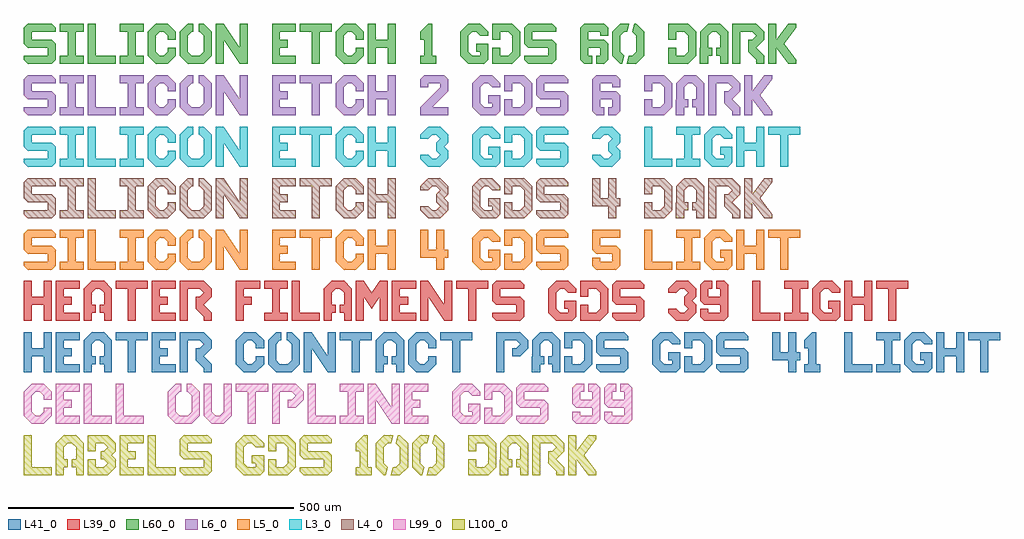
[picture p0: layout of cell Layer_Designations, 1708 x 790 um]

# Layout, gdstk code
import gdstk
lib = gdstk.Library(unit=1e-6, precision=1e-09)
def P(c, l, *ps):  # polygons
    for p in ps: c.add(gdstk.Polygon(p, *l))
L3_0 = (3, 0)
L4_0 = (4, 0)
L5_0 = (5, 0)
L6_0 = (6, 0)
L39_0 = (39, 0)
L41_0 = (41, 0)
L60_0 = (60, 0)
L99_0 = (99, 0)
L100_0 = (100, 0)

layer_designations = lib.new_cell('Layer_Designations')
P(layer_designations, L3_0, [(7,540),(0,547),(0,554),(42,554),(42,568),(7,568),(0,575),(0,603),(7,610),(49,610),(56,603),(56,596),(14,596),(14,582),(49,582),(56,575),(56,547),(49,540)],
  [(63,540),(63,554),(77,554),(77,596),(63,596),(63,610),(105,610),(105,596),(91,596),(91,554),(105,554),(105,540)],
  [(112,540),(112,610),(126,610),(126,554),(161,554),(161,540)],
  [(168,540),(168,554),(182,554),(182,596),(168,596),(168,610),(210,610),(210,596),(196,596),(196,554),(210,554),(210,540)],
  [(231,540),(217,554),(217,596),(231,610),(252,610),(266,596),(266,582),(252,582),(252,589),(245,596),(238,596),(231,589),(231,561),(238,554),(245,554),(252,561),(252,568),(266,568),(266,554),(252,540)],
  [(287,540),(273,554),(273,596),(287,610),(296.1,610),(296.1,596),(294,596),(287,589),(287,561),(294,554),(308,554),(315,561),(315,589),(308,596),(305.9,596),(305.9,610),(315,610),(329,596),(329,554),(315,540)],
  [(336,540),(336,610),(350,610),(378,568),(378,610),(392,610),(392,540),(378,540),(350,582),(350,540)],
  [(434,540),(434,610),(476,610),(476,596),(448,596),(448,582),(462,582),(462,568),(448,568),(448,554),(476,554),(476,540)],
  [(504,540),(504,596),(483,596),(483,610),(539,610),(539,596),(518,596),(518,540)],
  [(560,540),(546,554),(546,596),(560,610),(581,610),(595,596),(595,582),(581,582),(581,589),(574,596),(567,596),(560,589),(560,561),(567,554),(574,554),(581,561),(581,568),(595,568),(595,554),(581,540)],
  [(602,540),(602,610),(616,610),(616,582),(637,582),(637,610),(651,610),(651,540),(637,540),(637,568),(616,568),(616,540)],
  [(707,540),(693,554),(693,561),(707,561),(714,554),(721,554),(728,561),(721,568),(721,582),(728,589),(721,596),(714,596),(707,589),(693,589),(693,596),(707,610),(728,610),(742,596),(742,582),(735,575),(742,568),(742,554),(728,540)],
  [(798,540),(784,554),(784,596),(798,610),(819,610),(833,596),(833,589),(819,589),(812,596),(805,596),(798,589),(798,561),(805,554),(819,554),(819,561),(812,561),(812,575),(833,575),(833,547),(826,540)],
  [(840,540),(840,568),(854,568),(854,554),(868,554),(875,561),(875,589),(868,596),(854,596),(854,582),(840,582),(840,610),(875,610),(889,596),(889,554),(875,540)],
  [(903,540),(896,547),(896,554),(938,554),(938,568),(903,568),(896,575),(896,603),(903,610),(945,610),(952,603),(952,596),(910,596),(910,582),(945,582),(952,575),(952,547),(945,540)],
  [(1008,540),(994,554),(994,561),(1008,561),(1015,554),(1022,554),(1029,561),(1022,568),(1022,582),(1029,589),(1022,596),(1015,596),(1008,589),(994,589),(994,596),(1008,610),(1029,610),(1043,596),(1043,582),(1036,575),(1043,568),(1043,554),(1029,540)],
  [(1085,540),(1085,610),(1099,610),(1099,554),(1134,554),(1134,540)],
  [(1141,540),(1141,554),(1155,554),(1155,596),(1141,596),(1141,610),(1183,610),(1183,596),(1169,596),(1169,554),(1183,554),(1183,540)],
  [(1204,540),(1190,554),(1190,596),(1204,610),(1225,610),(1239,596),(1239,589),(1225,589),(1218,596),(1211,596),(1204,589),(1204,561),(1211,554),(1225,554),(1225,561),(1218,561),(1218,575),(1239,575),(1239,547),(1232,540)],
  [(1246,540),(1246,610),(1260,610),(1260,582),(1281,582),(1281,610),(1295,610),(1295,540),(1281,540),(1281,568),(1260,568),(1260,540)],
  [(1323,540),(1323,596),(1302,596),(1302,610),(1358,610),(1358,596),(1337,596),(1337,540)])
P(layer_designations, L4_0, [(7,450),(0,457),(0,464),(42,464),(42,478),(7,478),(0,485),(0,513),(7,520),(49,520),(56,513),(56,506),(14,506),(14,492),(49,492),(56,485),(56,457),(49,450)],
  [(63,450),(63,464),(77,464),(77,506),(63,506),(63,520),(105,520),(105,506),(91,506),(91,464),(105,464),(105,450)],
  [(112,450),(112,520),(126,520),(126,464),(161,464),(161,450)],
  [(168,450),(168,464),(182,464),(182,506),(168,506),(168,520),(210,520),(210,506),(196,506),(196,464),(210,464),(210,450)],
  [(231,450),(217,464),(217,506),(231,520),(252,520),(266,506),(266,492),(252,492),(252,499),(245,506),(238,506),(231,499),(231,471),(238,464),(245,464),(252,471),(252,478),(266,478),(266,464),(252,450)],
  [(287,450),(273,464),(273,506),(287,520),(296.1,520),(296.1,506),(294,506),(287,499),(287,471),(294,464),(308,464),(315,471),(315,499),(308,506),(305.9,506),(305.9,520),(315,520),(329,506),(329,464),(315,450)],
  [(336,450),(336,520),(350,520),(378,478),(378,520),(392,520),(392,450),(378,450),(350,492),(350,450)],
  [(434,450),(434,520),(476,520),(476,506),(448,506),(448,492),(462,492),(462,478),(448,478),(448,464),(476,464),(476,450)],
  [(504,450),(504,506),(483,506),(483,520),(539,520),(539,506),(518,506),(518,450)],
  [(560,450),(546,464),(546,506),(560,520),(581,520),(595,506),(595,492),(581,492),(581,499),(574,506),(567,506),(560,499),(560,471),(567,464),(574,464),(581,471),(581,478),(595,478),(595,464),(581,450)],
  [(602,450),(602,520),(616,520),(616,492),(637,492),(637,520),(651,520),(651,450),(637,450),(637,478),(616,478),(616,450)],
  [(707,450),(693,464),(693,471),(707,471),(714,464),(721,464),(728,471),(721,478),(721,492),(728,499),(721,506),(714,506),(707,499),(693,499),(693,506),(707,520),(728,520),(742,506),(742,492),(735,485),(742,478),(742,464),(728,450)],
  [(798,450),(784,464),(784,506),(798,520),(819,520),(833,506),(833,499),(819,499),(812,506),(805,506),(798,499),(798,471),(805,464),(819,464),(819,471),(812,471),(812,485),(833,485),(833,457),(826,450)],
  [(840,450),(840,478),(854,478),(854,464),(868,464),(875,471),(875,499),(868,506),(854,506),(854,492),(840,492),(840,520),(875,520),(889,506),(889,464),(875,450)],
  [(903,450),(896,457),(896,464),(938,464),(938,478),(903,478),(896,485),(896,513),(903,520),(945,520),(952,513),(952,506),(910,506),(910,492),(945,492),(952,485),(952,457),(945,450)],
  [(1022,450),(1022,471),(994,471),(994,520),(1008,520),(1008,485),(1022,485),(1022,520),(1036,520),(1036,485),(1043,485),(1043,471),(1036,471),(1036,450)],
  [(1085,450),(1085,478),(1099,478),(1099,464),(1113,464),(1120,471),(1120,499),(1113,506),(1099,506),(1099,492),(1085,492),(1085,520),(1120,520),(1134,506),(1134,464),(1120,450)],
  [(1140.93,450),(1141,506),(1155,520),(1176.07,520),(1190,506),(1190,450),(1176.07,450),(1176.07,464),(1169,464),(1169,478),(1176.07,478),(1176.07,499),(1169,506),(1162,506),(1155,499),(1155,478),(1162,478),(1162,464),(1155,464),(1155,450)],
  [(1197,450),(1197,520),(1239,520),(1253,506),(1253,492),(1239,478),(1253,464),(1253,450),(1239,450),(1239,457),(1225,471),(1225,492),(1232,492),(1239,499),(1232,506),(1211,506),(1211,450)],
  [(1260,450),(1260,520),(1274,520),(1274,492),(1295,520),(1309,520),(1309,513),(1288,485),(1309,457),(1309,450),(1295,450),(1274,478),(1274,450)])
P(layer_designations, L5_0, [(7,360),(0,367),(0,374),(42,374),(42,388),(7,388),(0,395),(0,423),(7,430),(49,430),(56,423),(56,416),(14,416),(14,402),(49,402),(56,395),(56,367),(49,360)],
  [(63,360),(63,374),(77,374),(77,416),(63,416),(63,430),(105,430),(105,416),(91,416),(91,374),(105,374),(105,360)],
  [(112,360),(112,430),(126,430),(126,374),(161,374),(161,360)],
  [(168,360),(168,374),(182,374),(182,416),(168,416),(168,430),(210,430),(210,416),(196,416),(196,374),(210,374),(210,360)],
  [(231,360),(217,374),(217,416),(231,430),(252,430),(266,416),(266,402),(252,402),(252,409),(245,416),(238,416),(231,409),(231,381),(238,374),(245,374),(252,381),(252,388),(266,388),(266,374),(252,360)],
  [(287,360),(273,374),(273,416),(287,430),(296.1,430),(296.1,416),(294,416),(287,409),(287,381),(294,374),(308,374),(315,381),(315,409),(308,416),(305.9,416),(305.9,430),(315,430),(329,416),(329,374),(315,360)],
  [(336,360),(336,430),(350,430),(378,388),(378,430),(392,430),(392,360),(378,360),(350,402),(350,360)],
  [(434,360),(434,430),(476,430),(476,416),(448,416),(448,402),(462,402),(462,388),(448,388),(448,374),(476,374),(476,360)],
  [(504,360),(504,416),(483,416),(483,430),(539,430),(539,416),(518,416),(518,360)],
  [(560,360),(546,374),(546,416),(560,430),(581,430),(595,416),(595,402),(581,402),(581,409),(574,416),(567,416),(560,409),(560,381),(567,374),(574,374),(581,381),(581,388),(595,388),(595,374),(581,360)],
  [(602,360),(602,430),(616,430),(616,402),(637,402),(637,430),(651,430),(651,360),(637,360),(637,388),(616,388),(616,360)],
  [(721,360),(721,381),(693,381),(693,430),(707,430),(707,395),(721,395),(721,430),(735,430),(735,395),(742,395),(742,381),(735,381),(735,360)],
  [(798,360),(784,374),(784,416),(798,430),(819,430),(833,416),(833,409),(819,409),(812,416),(805,416),(798,409),(798,381),(805,374),(819,374),(819,381),(812,381),(812,395),(833,395),(833,367),(826,360)],
  [(840,360),(840,388),(854,388),(854,374),(868,374),(875,381),(875,409),(868,416),(854,416),(854,402),(840,402),(840,430),(875,430),(889,416),(889,374),(875,360)],
  [(903,360),(896,367),(896,374),(938,374),(938,388),(903,388),(896,395),(896,423),(903,430),(945,430),(952,423),(952,416),(910,416),(910,402),(945,402),(952,395),(952,367),(945,360)],
  [(1001,360),(994,367),(994,381),(1008,381),(1008,374),(1029,374),(1029,388),(1001,388),(994,395),(994,430),(1043,430),(1043,416),(1008,416),(1008,402),(1036,402),(1043,395),(1043,367),(1036,360)],
  [(1085,360),(1085,430),(1099,430),(1099,374),(1134,374),(1134,360)],
  [(1141,360),(1141,374),(1155,374),(1155,416),(1141,416),(1141,430),(1183,430),(1183,416),(1169,416),(1169,374),(1183,374),(1183,360)],
  [(1204,360),(1190,374),(1190,416),(1204,430),(1225,430),(1239,416),(1239,409),(1225,409),(1218,416),(1211,416),(1204,409),(1204,381),(1211,374),(1225,374),(1225,381),(1218,381),(1218,395),(1239,395),(1239,367),(1232,360)],
  [(1246,360),(1246,430),(1260,430),(1260,402),(1281,402),(1281,430),(1295,430),(1295,360),(1281,360),(1281,388),(1260,388),(1260,360)],
  [(1323,360),(1323,416),(1302,416),(1302,430),(1358,430),(1358,416),(1337,416),(1337,360)])
P(layer_designations, L6_0, [(7,630),(0,637),(0,644),(42,644),(42,658),(7,658),(0,665),(0,693),(7,700),(49,700),(56,693),(56,686),(14,686),(14,672),(49,672),(56,665),(56,637),(49,630)],
  [(63,630),(63,644),(77,644),(77,686),(63,686),(63,700),(105,700),(105,686),(91,686),(91,644),(105,644),(105,630)],
  [(112,630),(112,700),(126,700),(126,644),(161,644),(161,630)],
  [(168,630),(168,644),(182,644),(182,686),(168,686),(168,700),(210,700),(210,686),(196,686),(196,644),(210,644),(210,630)],
  [(231,630),(217,644),(217,686),(231,700),(252,700),(266,686),(266,672),(252,672),(252,679),(245,686),(238,686),(231,679),(231,651),(238,644),(245,644),(252,651),(252,658),(266,658),(266,644),(252,630)],
  [(287,630),(273,644),(273,686),(287,700),(296.1,700),(296.1,686),(294,686),(287,679),(287,651),(294,644),(308,644),(315,651),(315,679),(308,686),(305.9,686),(305.9,700),(315,700),(329,686),(329,644),(315,630)],
  [(336,630),(336,700),(350,700),(378,658),(378,700),(392,700),(392,630),(378,630),(350,672),(350,630)],
  [(434,630),(434,700),(476,700),(476,686),(448,686),(448,672),(462,672),(462,658),(448,658),(448,644),(476,644),(476,630)],
  [(504,630),(504,686),(483,686),(483,700),(539,700),(539,686),(518,686),(518,630)],
  [(560,630),(546,644),(546,686),(560,700),(581,700),(595,686),(595,672),(581,672),(581,679),(574,686),(567,686),(560,679),(560,651),(567,644),(574,644),(581,651),(581,658),(595,658),(595,644),(581,630)],
  [(602,630),(602,700),(616,700),(616,672),(637,672),(637,700),(651,700),(651,630),(637,630),(637,658),(616,658),(616,630)],
  [(693,630),(693,644),(728,679),(728,686),(707,686),(707,679),(693,679),(693,693),(700,700),(735,700),(742,693),(742,672),(714,644),(742,644),(742,630)],
  [(798,630),(784,644),(784,686),(798,700),(819,700),(833,686),(833,679),(819,679),(812,686),(805,686),(798,679),(798,651),(805,644),(819,644),(819,651),(812,651),(812,665),(833,665),(833,637),(826,630)],
  [(840,630),(840,658),(854,658),(854,644),(868,644),(875,651),(875,679),(868,686),(854,686),(854,672),(840,672),(840,700),(875,700),(889,686),(889,644),(875,630)],
  [(903,630),(896,637),(896,644),(938,644),(938,658),(903,658),(896,665),(896,693),(903,700),(945,700),(952,693),(952,686),(910,686),(910,672),(945,672),(952,665),(952,637),(945,630)],
  [(1001,630),(994,637),(994,693),(1001,700),(1036,700),(1043,693),(1043,679),(1029,679),(1029,686),(1008,686),(1008,672),(1036,672),(1043,665),(1043,637),(1036,630),(1022,630),(1022,644),(1029,644),(1029,658),(1008,658),(1008,644),(1015,644),(1015,630)],
  [(1085,630),(1085,658),(1099,658),(1099,644),(1113,644),(1120,651),(1120,679),(1113,686),(1099,686),(1099,672),(1085,672),(1085,700),(1120,700),(1134,686),(1134,644),(1120,630)],
  [(1140.93,630),(1141,686),(1155,700),(1176.07,700),(1190,686),(1190,630),(1176.07,630),(1176.07,644),(1169,644),(1169,658),(1176.07,658),(1176.07,679),(1169,686),(1162,686),(1155,679),(1155,658),(1162,658),(1162,644),(1155,644),(1155,630)],
  [(1197,630),(1197,700),(1239,700),(1253,686),(1253,672),(1239,658),(1253,644),(1253,630),(1239,630),(1239,637),(1225,651),(1225,672),(1232,672),(1239,679),(1232,686),(1211,686),(1211,630)],
  [(1260,630),(1260,700),(1274,700),(1274,672),(1295,700),(1309,700),(1309,693),(1288,665),(1309,637),(1309,630),(1295,630),(1274,658),(1274,630)])
P(layer_designations, L39_0, [(0,270),(0,340),(14,340),(14,312),(35,312),(35,340),(49,340),(49,270),(35,270),(35,298),(14,298),(14,270)],
  [(56,270),(56,340),(98,340),(98,326),(70,326),(70,312),(84,312),(84,298),(70,298),(70,284),(98,284),(98,270)],
  [(104.93,270),(105,326),(119,340),(140.07,340),(154,326),(154,270),(140.07,270),(140.07,284),(133,284),(133,298),(140.07,298),(140.07,319),(133,326),(126,326),(119,319),(119,298),(126,298),(126,284),(119,284),(119,270)],
  [(182,270),(182,326),(161,326),(161,340),(217,340),(217,326),(196,326),(196,270)],
  [(224,270),(224,340),(266,340),(266,326),(238,326),(238,312),(252,312),(252,298),(238,298),(238,284),(266,284),(266,270)],
  [(273,270),(273,340),(315,340),(329,326),(329,312),(315,298),(329,284),(329,270),(315,270),(315,277),(301,291),(301,312),(308,312),(315,319),(308,326),(287,326),(287,270)],
  [(371,270),(371,340),(413,340),(413,326),(385,326),(385,312),(399,312),(399,298),(385,298),(385,270)],
  [(420,270),(420,284),(434,284),(434,326),(420,326),(420,340),(462,340),(462,326),(448,326),(448,284),(462,284),(462,270)],
  [(469,270),(469,340),(483,340),(483,284),(518,284),(518,270)],
  [(524.93,270),(525,326),(539,340),(560.07,340),(574,326),(574,270),(560.07,270),(560.07,284),(553,284),(553,298),(560.07,298),(560.07,319),(553,326),(546,326),(539,319),(539,298),(546,298),(546,284),(539,284),(539,270)],
  [(581,270),(581,340),(595,340),(609,319),(623,340),(637,340),(637,270),(623,270),(623,312),(609,291),(595,312),(595,270)],
  [(644,270),(644,340),(686,340),(686,326),(658,326),(658,312),(672,312),(672,298),(658,298),(658,284),(686,284),(686,270)],
  [(693,270),(693,340),(707,340),(735,298),(735,340),(749,340),(749,270),(735,270),(707,312),(707,270)],
  [(777,270),(777,326),(756,326),(756,340),(812,340),(812,326),(791,326),(791,270)],
  [(826,270),(819,277),(819,284),(861,284),(861,298),(826,298),(819,305),(819,333),(826,340),(868,340),(875,333),(875,326),(833,326),(833,312),(868,312),(875,305),(875,277),(868,270)],
  [(931,270),(917,284),(917,326),(931,340),(952,340),(966,326),(966,319),(952,319),(945,326),(938,326),(931,319),(931,291),(938,284),(952,284),(952,291),(945,291),(945,305),(966,305),(966,277),(959,270)],
  [(973,270),(973,298),(987,298),(987,284),(1001,284),(1008,291),(1008,319),(1001,326),(987,326),(987,312),(973,312),(973,340),(1008,340),(1022,326),(1022,284),(1008,270)],
  [(1036,270),(1029,277),(1029,284),(1071,284),(1071,298),(1036,298),(1029,305),(1029,333),(1036,340),(1078,340),(1085,333),(1085,326),(1043,326),(1043,312),(1078,312),(1085,305),(1085,277),(1078,270)],
  [(1141,270),(1127,284),(1127,291),(1141,291),(1148,284),(1155,284),(1162,291),(1155,298),(1155,312),(1162,319),(1155,326),(1148,326),(1141,319),(1127,319),(1127,326),(1141,340),(1162,340),(1176,326),(1176,312),(1169,305),(1176,298),(1176,284),(1162,270)],
  [(1190,270),(1183,277),(1183,291),(1197,291),(1197,284),(1218,284),(1218,298),(1190,298),(1183,305),(1183,333),(1190,340),(1204,340),(1204,326),(1197,326),(1197,312),(1218,312),(1218,326),(1211,326),(1211,340),(1225,340),(1232,333),(1232,277),(1225,270)],
  [(1274,270),(1274,340),(1288,340),(1288,284),(1323,284),(1323,270)],
  [(1330,270),(1330,284),(1344,284),(1344,326),(1330,326),(1330,340),(1372,340),(1372,326),(1358,326),(1358,284),(1372,284),(1372,270)],
  [(1393,270),(1379,284),(1379,326),(1393,340),(1414,340),(1428,326),(1428,319),(1414,319),(1407,326),(1400,326),(1393,319),(1393,291),(1400,284),(1414,284),(1414,291),(1407,291),(1407,305),(1428,305),(1428,277),(1421,270)],
  [(1435,270),(1435,340),(1449,340),(1449,312),(1470,312),(1470,340),(1484,340),(1484,270),(1470,270),(1470,298),(1449,298),(1449,270)],
  [(1512,270),(1512,326),(1491,326),(1491,340),(1547,340),(1547,326),(1526,326),(1526,270)])
P(layer_designations, L41_0, [(0,180),(0,250),(14,250),(14,222),(35,222),(35,250),(49,250),(49,180),(35,180),(35,208),(14,208),(14,180)],
  [(56,180),(56,250),(98,250),(98,236),(70,236),(70,222),(84,222),(84,208),(70,208),(70,194),(98,194),(98,180)],
  [(104.93,180),(105,236),(119,250),(140.07,250),(154,236),(154,180),(140.07,180),(140.07,194),(133,194),(133,208),(140.07,208),(140.07,229),(133,236),(126,236),(119,229),(119,208),(126,208),(126,194),(119,194),(119,180)],
  [(182,180),(182,236),(161,236),(161,250),(217,250),(217,236),(196,236),(196,180)],
  [(224,180),(224,250),(266,250),(266,236),(238,236),(238,222),(252,222),(252,208),(238,208),(238,194),(266,194),(266,180)],
  [(273,180),(273,250),(315,250),(329,236),(329,222),(315,208),(329,194),(329,180),(315,180),(315,187),(301,201),(301,222),(308,222),(315,229),(308,236),(287,236),(287,180)],
  [(385,180),(371,194),(371,236),(385,250),(406,250),(420,236),(420,222),(406,222),(406,229),(399,236),(392,236),(385,229),(385,201),(392,194),(399,194),(406,201),(406,208),(420,208),(420,194),(406,180)],
  [(441,180),(427,194),(427,236),(441,250),(450.1,250),(450.1,236),(448,236),(441,229),(441,201),(448,194),(462,194),(469,201),(469,229),(462,236),(459.9,236),(459.9,250),(469,250),(483,236),(483,194),(469,180)],
  [(490,180),(490,250),(504,250),(532,208),(532,250),(546,250),(546,180),(532,180),(504,222),(504,180)],
  [(574,180),(574,236),(553,236),(553,250),(609,250),(609,236),(588,236),(588,180)],
  [(615.93,180),(616,236),(630,250),(651.07,250),(665,236),(665,180),(651.07,180),(651.07,194),(644,194),(644,208),(651.07,208),(651.07,229),(644,236),(637,236),(630,229),(630,208),(637,208),(637,194),(630,194),(630,180)],
  [(686,180),(672,194),(672,236),(686,250),(707,250),(721,236),(721,222),(707,222),(707,229),(700,236),(693,236),(686,229),(686,201),(693,194),(700,194),(707,201),(707,208),(721,208),(721,194),(707,180)],
  [(749,180),(749,236),(728,236),(728,250),(784,250),(784,236),(763,236),(763,180)],
  [(826,180),(826,250),(868,250),(882,236),(882,222),(868,208),(854,208),(854,222),(861,222),(868,229),(861,236),(840,236),(840,180)],
  [(888.93,180),(889,236),(903,250),(924.07,250),(938,236),(938,180),(924.07,180),(924.07,194),(917,194),(917,208),(924.07,208),(924.07,229),(917,236),(910,236),(903,229),(903,208),(910,208),(910,194),(903,194),(903,180)],
  [(945,180),(945,208),(959,208),(959,194),(973,194),(980,201),(980,229),(973,236),(959,236),(959,222),(945,222),(945,250),(980,250),(994,236),(994,194),(980,180)],
  [(1008,180),(1001,187),(1001,194),(1043,194),(1043,208),(1008,208),(1001,215),(1001,243),(1008,250),(1050,250),(1057,243),(1057,236),(1015,236),(1015,222),(1050,222),(1057,215),(1057,187),(1050,180)],
  [(1113,180),(1099,194),(1099,236),(1113,250),(1134,250),(1148,236),(1148,229),(1134,229),(1127,236),(1120,236),(1113,229),(1113,201),(1120,194),(1134,194),(1134,201),(1127,201),(1127,215),(1148,215),(1148,187),(1141,180)],
  [(1155,180),(1155,208),(1169,208),(1169,194),(1183,194),(1190,201),(1190,229),(1183,236),(1169,236),(1169,222),(1155,222),(1155,250),(1190,250),(1204,236),(1204,194),(1190,180)],
  [(1218,180),(1211,187),(1211,194),(1253,194),(1253,208),(1218,208),(1211,215),(1211,243),(1218,250),(1260,250),(1267,243),(1267,236),(1225,236),(1225,222),(1260,222),(1267,215),(1267,187),(1260,180)],
  [(1337,180),(1337,201),(1309,201),(1309,250),(1323,250),(1323,215),(1337,215),(1337,250),(1351,250),(1351,215),(1358,215),(1358,201),(1351,201),(1351,180)],
  [(1365,180),(1365,194),(1372,194),(1372,222),(1365,222),(1365,236),(1379,250),(1386,250),(1386,194),(1393,194),(1393,180)],
  [(1435,180),(1435,250),(1449,250),(1449,194),(1484,194),(1484,180)],
  [(1491,180),(1491,194),(1505,194),(1505,236),(1491,236),(1491,250),(1533,250),(1533,236),(1519,236),(1519,194),(1533,194),(1533,180)],
  [(1554,180),(1540,194),(1540,236),(1554,250),(1575,250),(1589,236),(1589,229),(1575,229),(1568,236),(1561,236),(1554,229),(1554,201),(1561,194),(1575,194),(1575,201),(1568,201),(1568,215),(1589,215),(1589,187),(1582,180)],
  [(1596,180),(1596,250),(1610,250),(1610,222),(1631,222),(1631,250),(1645,250),(1645,180),(1631,180),(1631,208),(1610,208),(1610,180)],
  [(1673,180),(1673,236),(1652,236),(1652,250),(1708,250),(1708,236),(1687,236),(1687,180)])
P(layer_designations, L60_0, [(7,720),(0,727),(0,734),(42,734),(42,748),(7,748),(0,755),(0,783),(7,790),(49,790),(56,783),(56,776),(14,776),(14,762),(49,762),(56,755),(56,727),(49,720)],
  [(63,720),(63,734),(77,734),(77,776),(63,776),(63,790),(105,790),(105,776),(91,776),(91,734),(105,734),(105,720)],
  [(112,720),(112,790),(126,790),(126,734),(161,734),(161,720)],
  [(168,720),(168,734),(182,734),(182,776),(168,776),(168,790),(210,790),(210,776),(196,776),(196,734),(210,734),(210,720)],
  [(231,720),(217,734),(217,776),(231,790),(252,790),(266,776),(266,762),(252,762),(252,769),(245,776),(238,776),(231,769),(231,741),(238,734),(245,734),(252,741),(252,748),(266,748),(266,734),(252,720)],
  [(287,720),(273,734),(273,776),(287,790),(296.1,790),(296.1,776),(294,776),(287,769),(287,741),(294,734),(308,734),(315,741),(315,769),(308,776),(305.9,776),(305.9,790),(315,790),(329,776),(329,734),(315,720)],
  [(336,720),(336,790),(350,790),(378,748),(378,790),(392,790),(392,720),(378,720),(350,762),(350,720)],
  [(434,720),(434,790),(476,790),(476,776),(448,776),(448,762),(462,762),(462,748),(448,748),(448,734),(476,734),(476,720)],
  [(504,720),(504,776),(483,776),(483,790),(539,790),(539,776),(518,776),(518,720)],
  [(560,720),(546,734),(546,776),(560,790),(581,790),(595,776),(595,762),(581,762),(581,769),(574,776),(567,776),(560,769),(560,741),(567,734),(574,734),(581,741),(581,748),(595,748),(595,734),(581,720)],
  [(602,720),(602,790),(616,790),(616,762),(637,762),(637,790),(651,790),(651,720),(637,720),(637,748),(616,748),(616,720)],
  [(693,720),(693,734),(700,734),(700,762),(693,762),(693,776),(707,790),(714,790),(714,734),(721,734),(721,720)],
  [(777,720),(763,734),(763,776),(777,790),(798,790),(812,776),(812,769),(798,769),(791,776),(784,776),(777,769),(777,741),(784,734),(798,734),(798,741),(791,741),(791,755),(812,755),(812,727),(805,720)],
  [(819,720),(819,748),(833,748),(833,734),(847,734),(854,741),(854,769),(847,776),(833,776),(833,762),(819,762),(819,790),(854,790),(868,776),(868,734),(854,720)],
  [(882,720),(875,727),(875,734),(917,734),(917,748),(882,748),(875,755),(875,783),(882,790),(924,790),(931,783),(931,776),(889,776),(889,762),(924,762),(931,755),(931,727),(924,720)],
  [(980,720),(973,727),(973,783),(980,790),(1015,790),(1022,783),(1022,769),(1008,769),(1008,776),(987,776),(987,762),(1015,762),(1022,755),(1022,727),(1015,720),(1001,720),(1001,734),(1008,734),(1008,748),(987,748),(987,734),(994,734),(994,720)],
  [(1043,720),(1029,734),(1029,776),(1043,790),(1059.1,790),(1055.6,776),(1050,776),(1043,769),(1043,741),(1050,734),(1046.5,720)],
  [(1054.9,720),(1058.4,734),(1064,734),(1071,741),(1071,769),(1064,776),(1067.5,790),(1071,790),(1085,776),(1085,734),(1071,720)],
  [(1127,720),(1127,748),(1141,748),(1141,734),(1155,734),(1162,741),(1162,769),(1155,776),(1141,776),(1141,762),(1127,762),(1127,790),(1162,790),(1176,776),(1176,734),(1162,720)],
  [(1182.93,720),(1183,776),(1197,790),(1218.07,790),(1232,776),(1232,720),(1218.07,720),(1218.07,734),(1211,734),(1211,748),(1218.07,748),(1218.07,769),(1211,776),(1204,776),(1197,769),(1197,748),(1204,748),(1204,734),(1197,734),(1197,720)],
  [(1239,720),(1239,790),(1281,790),(1295,776),(1295,762),(1281,748),(1295,734),(1295,720),(1281,720),(1281,727),(1267,741),(1267,762),(1274,762),(1281,769),(1274,776),(1253,776),(1253,720)],
  [(1302,720),(1302,790),(1316,790),(1316,762),(1337,790),(1351,790),(1351,783),(1330,755),(1351,727),(1351,720),(1337,720),(1316,748),(1316,720)])
P(layer_designations, L99_0, [(14,90),(0,104),(0,146),(14,160),(35,160),(49,146),(49,132),(35,132),(35,139),(28,146),(21,146),(14,139),(14,111),(21,104),(28,104),(35,111),(35,118),(49,118),(49,104),(35,90)],
  [(56,90),(56,160),(98,160),(98,146),(70,146),(70,132),(84,132),(84,118),(70,118),(70,104),(98,104),(98,90)],
  [(105,90),(105,160),(119,160),(119,104),(154,104),(154,90)],
  [(161,90),(161,160),(175,160),(175,104),(210,104),(210,90)],
  [(266,90),(252,104),(252,146),(266,160),(275.1,160),(275.1,146),(273,146),(266,139),(266,111),(273,104),(287,104),(294,111),(294,139),(287,146),(284.9,146),(284.9,160),(294,160),(308,146),(308,104),(294,90)],
  [(329,90),(315,104),(315,160),(329,160),(329,111),(336,104),(343,104),(350,111),(350,160),(364,160),(364,104),(350,90)],
  [(392,90),(392,146),(371,146),(371,160),(427,160),(427,146),(406,146),(406,90)],
  [(434,90),(434,160),(476,160),(490,146),(490,132),(476,118),(462,118),(462,132),(469,132),(476,139),(469,146),(448,146),(448,90)],
  [(497,90),(497,160),(511,160),(511,104),(546,104),(546,90)],
  [(553,90),(553,104),(567,104),(567,146),(553,146),(553,160),(595,160),(595,146),(581,146),(581,104),(595,104),(595,90)],
  [(602,90),(602,160),(616,160),(644,118),(644,160),(658,160),(658,90),(644,90),(616,132),(616,90)],
  [(665,90),(665,160),(707,160),(707,146),(679,146),(679,132),(693,132),(693,118),(679,118),(679,104),(707,104),(707,90)],
  [(763,90),(749,104),(749,146),(763,160),(784,160),(798,146),(798,139),(784,139),(777,146),(770,146),(763,139),(763,111),(770,104),(784,104),(784,111),(777,111),(777,125),(798,125),(798,97),(791,90)],
  [(805,90),(805,118),(819,118),(819,104),(833,104),(840,111),(840,139),(833,146),(819,146),(819,132),(805,132),(805,160),(840,160),(854,146),(854,104),(840,90)],
  [(868,90),(861,97),(861,104),(903,104),(903,118),(868,118),(861,125),(861,153),(868,160),(910,160),(917,153),(917,146),(875,146),(875,132),(910,132),(917,125),(917,97),(910,90)],
  [(966,90),(959,97),(959,111),(973,111),(973,104),(994,104),(994,118),(966,118),(959,125),(959,153),(966,160),(980,160),(980,146),(973,146),(973,132),(994,132),(994,146),(987,146),(987,160),(1001,160),(1008,153),(1008,97),(1001,90)],
  [(1022,90),(1015,97),(1015,111),(1029,111),(1029,104),(1050,104),(1050,118),(1022,118),(1015,125),(1015,153),(1022,160),(1036,160),(1036,146),(1029,146),(1029,132),(1050,132),(1050,146),(1043,146),(1043,160),(1057,160),(1064,153),(1064,97),(1057,90)])
P(layer_designations, L100_0, [(0,0),(0,70),(14,70),(14,14),(49,14),(49,0)],
  [(55.93,0),(56,56),(70,70),(91.07,70),(105,56),(105,0),(91.07,0),(91.07,14),(84,14),(84,28),(91.07,28),(91.07,49),(84,56),(77,56),(70,49),(70,28),(77,28),(77,14),(70,14),(70,0)],
  [(112,0),(112,28),(126,28),(126,14),(140,14),(147,21),(140,28),(134.4,28),(134.4,42),(140,42),(147,49),(140,56),(126,56),(126,42),(112,42),(112,70),(147,70),(161,56),(161,42),(154,35),(161,28),(161,14),(147,0)],
  [(168,0),(168,70),(210,70),(210,56),(182,56),(182,42),(196,42),(196,28),(182,28),(182,14),(210,14),(210,0)],
  [(217,0),(217,70),(231,70),(231,14),(266,14),(266,0)],
  [(280,0),(273,7),(273,14),(315,14),(315,28),(280,28),(273,35),(273,63),(280,70),(322,70),(329,63),(329,56),(287,56),(287,42),(322,42),(329,35),(329,7),(322,0)],
  [(385,0),(371,14),(371,56),(385,70),(406,70),(420,56),(420,49),(406,49),(399,56),(392,56),(385,49),(385,21),(392,14),(406,14),(406,21),(399,21),(399,35),(420,35),(420,7),(413,0)],
  [(427,0),(427,28),(441,28),(441,14),(455,14),(462,21),(462,49),(455,56),(441,56),(441,42),(427,42),(427,70),(462,70),(476,56),(476,14),(462,0)],
  [(490,0),(483,7),(483,14),(525,14),(525,28),(490,28),(483,35),(483,63),(490,70),(532,70),(539,63),(539,56),(497,56),(497,42),(532,42),(539,35),(539,7),(532,0)],
  [(581,0),(581,14),(588,14),(588,42),(581,42),(581,56),(595,70),(602,70),(602,14),(609,14),(609,0)],
  [(630,0),(616,14),(616,56),(630,70),(646.1,70),(642.6,56),(637,56),(630,49),(630,21),(637,14),(633.5,0)],
  [(641.9,0),(645.4,14),(651,14),(658,21),(658,49),(651,56),(654.5,70),(658,70),(672,56),(672,14),(658,0)],
  [(693,0),(679,14),(679,56),(693,70),(709.1,70),(705.6,56),(700,56),(693,49),(693,21),(700,14),(696.5,0)],
  [(704.9,0),(708.4,14),(714,14),(721,21),(721,49),(714,56),(717.5,70),(721,70),(735,56),(735,14),(721,0)],
  [(777,0),(777,28),(791,28),(791,14),(805,14),(812,21),(812,49),(805,56),(791,56),(791,42),(777,42),(777,70),(812,70),(826,56),(826,14),(812,0)],
  [(832.93,0),(833,56),(847,70),(868.07,70),(882,56),(882,0),(868.07,0),(868.07,14),(861,14),(861,28),(868.07,28),(868.07,49),(861,56),(854,56),(847,49),(847,28),(854,28),(854,14),(847,14),(847,0)],
  [(889,0),(889,70),(931,70),(945,56),(945,42),(931,28),(945,14),(945,0),(931,0),(931,7),(917,21),(917,42),(924,42),(931,49),(924,56),(903,56),(903,0)],
  [(952,0),(952,70),(966,70),(966,42),(987,70),(1001,70),(1001,63),(980,35),(1001,7),(1001,0),(987,0),(966,28),(966,0)])

lib.write_gds('Layer_Designations.gds')
